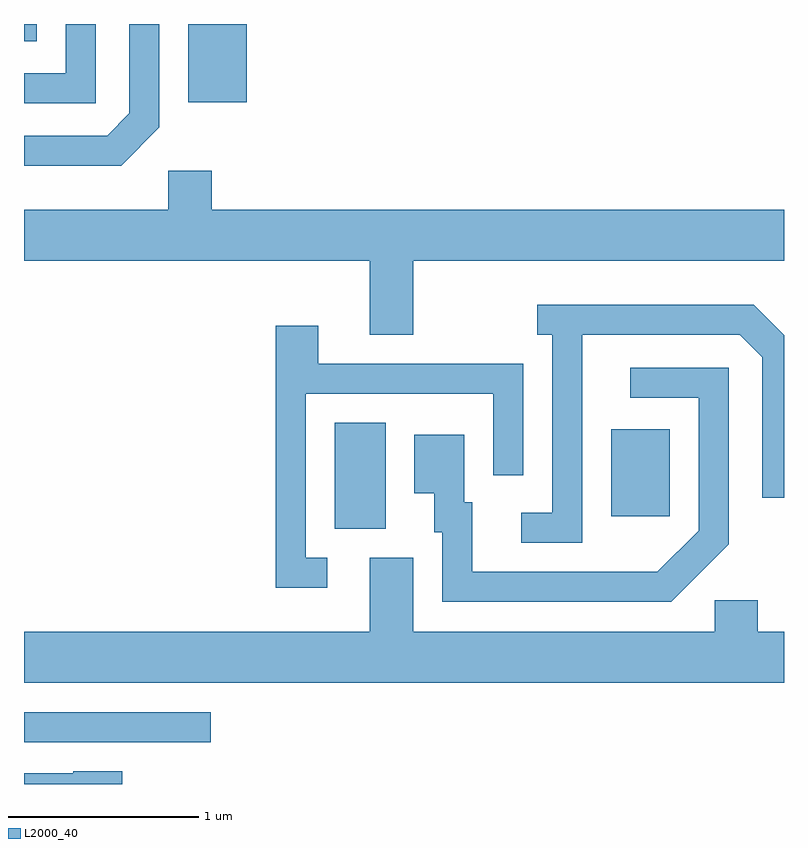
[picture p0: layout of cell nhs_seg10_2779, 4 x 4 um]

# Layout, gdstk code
import gdstk
lib = gdstk.Library(unit=1e-6, precision=1e-09)
def R(c, l, rs):  # rectangles x0, y0, x1, y1
    for r in rs: c.add(gdstk.rectangle(r[:2], r[2:], *l))
def P(c, l, *ps):  # polygons
    for p in ps: c.add(gdstk.Polygon(p, *l))
L2000_40 = (2000, 40)

nhs_seg10_2779 = lib.new_cell('nhs_seg10_2779')
R(nhs_seg10_2779, L2000_40, [(267.611,2084.741,268.593,2084.899), (269.246,2085.866,269.514,2086.424), (270.701,2085.931,271.009,2086.389), (268.476,2088.111,268.784,2088.522), (267.611,2088.431,267.679,2088.522)])
P(nhs_seg10_2779, L2000_40, [(267.989,2088.522),(267.831,2088.522),(267.831,2088.264),(267.611,2088.264),(267.611,2088.106),(267.989,2088.106)],
  [(268.324,2087.979),(268.324,2088.522),(268.166,2088.522),(268.166,2088.052),(268.049,2087.934),(267.611,2087.934),(267.611,2087.776),(268.122,2087.776)],
  [(269.659,2087.276),(271.611,2087.276),(271.611,2087.544),(268.599,2087.544),(268.599,2087.749),(268.371,2087.749),(268.371,2087.544),(267.611,2087.544),(267.611,2087.276),(269.431,2087.276),(269.431,2086.886),(269.659,2086.886)],
  [(270.549,2086.886),(271.379,2086.886),(271.496,2086.769),(271.496,2086.028),(271.611,2086.028),(271.611,2086.885),(271.452,2087.044),(270.313,2087.044),(270.313,2086.886),(270.391,2086.886),(270.391,2085.949),(270.228,2085.949),(270.228,2085.791),(270.549,2085.791)],
  [(269.208,2085.714),(269.094,2085.714),(269.094,2086.576),(270.081,2086.576),(270.081,2086.148),(270.239,2086.148),(270.239,2086.734),(269.159,2086.734),(269.159,2086.934),(268.936,2086.934),(268.936,2085.556),(269.208,2085.556)],
  [(271.319,2085.784),(271.319,2086.714),(270.803,2086.714),(270.803,2086.556),(271.161,2086.556),(271.161,2085.856),(270.944,2085.639),(269.969,2085.639),(269.969,2086.004),(269.929,2086.004),(269.929,2086.359),(269.666,2086.359),(269.666,2086.051),(269.771,2086.051),(269.771,2085.846),(269.811,2085.846),(269.811,2085.481),(271.017,2085.481)],
  [(271.611,2085.324),(271.474,2085.324),(271.474,2085.489),(271.246,2085.489),(271.246,2085.324),(269.659,2085.324),(269.659,2085.714),(269.431,2085.714),(269.431,2085.324),(267.611,2085.324),(267.611,2085.056),(271.611,2085.056)],
  [(268.129,2084.589),(267.87,2084.589),(267.87,2084.579),(267.611,2084.579),(267.611,2084.522),(268.129,2084.522)])

lib.write_gds('nhs_seg10_2779.gds')
